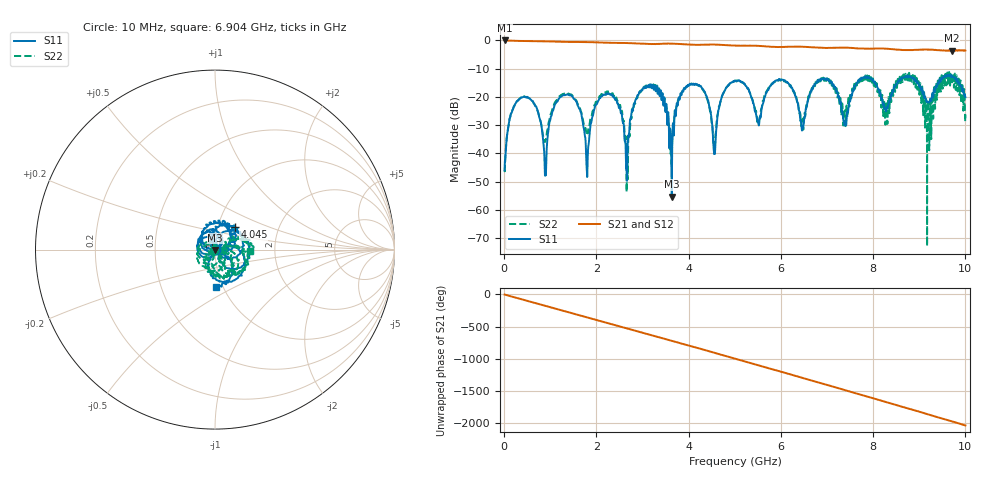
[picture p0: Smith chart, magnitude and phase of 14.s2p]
!Keysight Technologies,E5080B,MY59205177,A.15.75.32
!Date: Friday, February 23, 2024 03:26:38
!Correction: S11(Cdelta 2-Port  )
!S21(Cdelta 2-Port  )
!S12(Cdelta 2-Port  )
!S22(Cdelta 2-Port  )
!S2P File: Measurements: S11, S21, S12, S22:
# Hz S  dB  R 50
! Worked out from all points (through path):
!   10001 points, 10 MHz to 10 GHz, reference 50 ohm
!   highest |S21| = -0.02 dB at 14 MHz (marker M1); lowest = -3.7 dB at 9.701 GHz (marker M2)
!   group delay of S21, straight-line fit = 565 ps
!   lowest |S11| = -55.2 dB at 3.634 GHz (marker M3), VSWR 1.00, Z = 50.1 - j0.146 ohm
!   |S11| at or under -10 dB: start of sweep to end of sweep
!   |S22| runs from -72.8 to -11.2 dB; largest |S21 - S12| = 0.0016
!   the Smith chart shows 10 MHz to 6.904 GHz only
!   S11 on the Smith chart (normalised r, x): 10 MHz: 1.01, -0.00; 4.045 GHz: 1.20, +0.31; 6.904 GHz: 0.92, -0.40
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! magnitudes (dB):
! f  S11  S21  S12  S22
! 10 MHz  -45.9  0.0  0.0  -46.2
! 14 MHz  -43.3  0.0  0.0  -45.8
! 376.6 MHz  -20.2  -0.2  -0.2  -20.1
! 889.1 MHz  -47.4  -0.3  -0.3  -35.7
! 1.212 GHz  -20.1  -0.5  -0.5  -19.6
! 1.675 GHz  -26.1  -0.6  -0.6  -25.5
! 1.803 GHz  -47.6  -0.6  -0.6  -32.3
! 2.35 GHz  -19.3  -0.9  -0.9  -18.8
! 2.663 GHz  -49.7  -0.9  -0.9  -42.5
! 2.891 GHz  -19.4  -1.1  -1.1  -20.2
! 3.341 GHz  -17.5  -1.2  -1.2  -17.8
! 3.634 GHz  -55.2  -1.1  -1.1  -42.6
! 4.045 GHz  -15.7  -1.5  -1.5  -15.6
! 4.56 GHz  -40.1  -1.5  -1.5  -39.3
! 5.005 GHz  -14.2  -1.8  -1.8  -14.5
! 5.516 GHz  -29.8  -1.9  -1.9  -28.8
! 6.67 GHz  -17.3  -2.4  -2.4  -16.9
! 6.904 GHz  -13.6  -2.6  -2.6  -14.2
! 7.383 GHz  -30.0  -2.6  -2.6  -25.3
! 8.336 GHz  -22.6  -3.0  -3.0  -20.6
! 9.701 GHz  -12.3  -3.7  -3.7  -13.9
! 10 GHz  -20.1  -3.6  -3.6  -26.2
